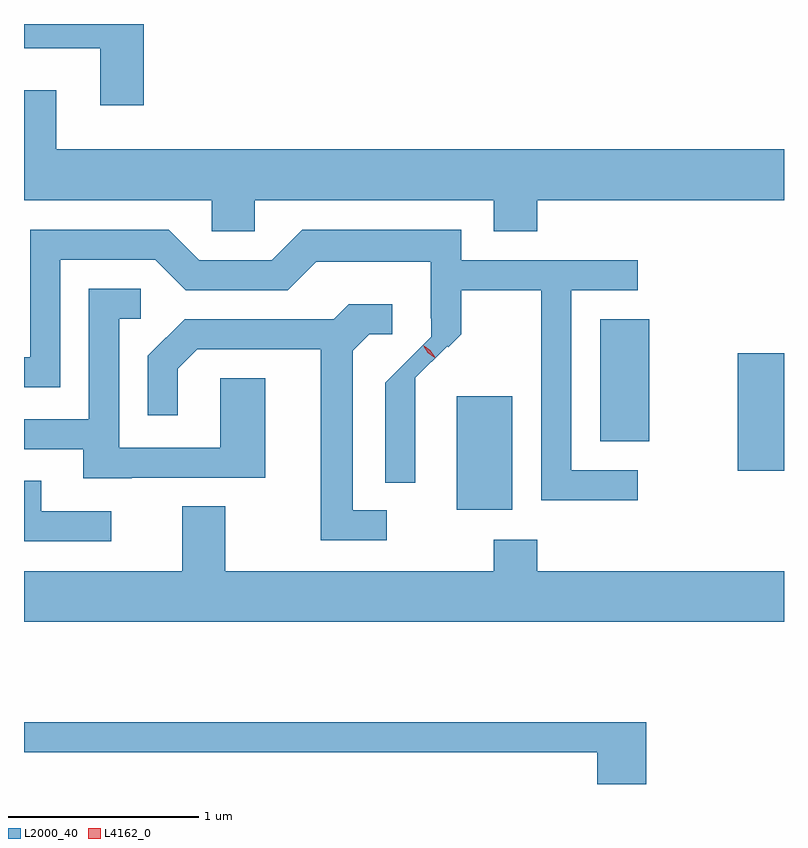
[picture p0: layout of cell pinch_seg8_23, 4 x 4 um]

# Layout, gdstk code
import gdstk
lib = gdstk.Library(unit=1e-6, precision=1e-09)
def R(c, l, rs):  # rectangles x0, y0, x1, y1
    for r in rs: c.add(gdstk.rectangle(r[:2], r[2:], *l))
def P(c, l, *ps):  # polygons
    for p in ps: c.add(gdstk.Polygon(p, *l))
L2000_40 = (2000, 40)
L4162_0 = (4162, 0)

pinch_seg8_23 = lib.new_cell('pinch_seg8_23')
R(pinch_seg8_23, L2000_40, [(1807.006,1837.006,1807.299,1837.604), (1808.486,1837.211,1808.729,1837.829), (1807.761,1837.366,1808.019,1838.009)])
P(pinch_seg8_23, L2000_40, [(1805.359,1839.563),(1804.729,1839.563),(1804.729,1839.436),(1805.131,1839.436),(1805.131,1839.136),(1805.359,1839.136)],
  [(1805.944,1838.636),(1807.201,1838.636),(1807.201,1838.471),(1807.429,1838.471),(1807.429,1838.636),(1808.729,1838.636),(1808.729,1838.904),(1804.899,1838.904),(1804.899,1839.214),(1804.729,1839.214),(1804.729,1838.636),(1805.716,1838.636),(1805.716,1838.471),(1805.944,1838.471)],
  [(1807.958,1837.214),(1807.609,1837.214),(1807.609,1838.161),(1807.958,1838.161),(1807.958,1838.319),(1807.029,1838.319),(1807.029,1838.479),(1806.194,1838.479),(1806.034,1838.319),(1805.652,1838.319),(1805.492,1838.479),(1804.761,1838.479),(1804.761,1837.809),(1804.729,1837.809),(1804.729,1837.651),(1804.919,1837.651),(1804.919,1838.321),(1805.419,1838.321),(1805.579,1838.161),(1806.117,1838.161),(1806.267,1838.311),(1806.871,1838.311),(1806.871,1838.015),(1806.873,1838.015),(1806.873,1837.916),(1806.631,1837.674),(1806.631,1837.148),(1806.789,1837.148),(1806.789,1837.7),(1806.956,1837.867),(1806.961,1837.863),(1807.029,1837.931),(1807.029,1838.161),(1807.451,1838.161),(1807.451,1837.056),(1807.958,1837.056)],
  [(1805.295,1837.176),(1805.999,1837.176),(1805.999,1837.699),(1805.761,1837.699),(1805.761,1837.334),(1805.229,1837.334),(1805.229,1838.011),(1805.343,1838.011),(1805.343,1838.169),(1805.071,1838.169),(1805.071,1837.484),(1804.729,1837.484),(1804.729,1837.326),(1805.041,1837.326),(1805.041,1837.171),(1805.295,1837.171)],
  [(1806.638,1837.004),(1806.459,1837.004),(1806.459,1837.844),(1806.547,1837.931),(1806.668,1837.931),(1806.668,1838.089),(1806.439,1838.089),(1806.359,1838.009),(1805.574,1838.009),(1805.381,1837.817),(1805.381,1837.503),(1805.539,1837.503),(1805.539,1837.749),(1805.642,1837.851),(1806.291,1837.851),(1806.291,1836.846),(1806.638,1836.846)],
  [(1805.188,1836.999),(1804.819,1836.999),(1804.819,1837.159),(1804.729,1837.159),(1804.729,1836.841),(1805.188,1836.841)],
  [(1808.729,1836.684),(1807.429,1836.684),(1807.429,1836.849),(1807.201,1836.849),(1807.201,1836.684),(1805.789,1836.684),(1805.789,1837.024),(1805.561,1837.024),(1805.561,1836.684),(1804.729,1836.684),(1804.729,1836.416),(1808.729,1836.416)],
  [(1808.004,1835.889),(1804.729,1835.889),(1804.729,1835.731),(1807.746,1835.731),(1807.746,1835.563),(1808.004,1835.563)])
P(pinch_seg8_23, L4162_0, [(1806.892,1837.806),(1806.854,1837.832),(1806.829,1837.871),(1806.829,1837.871),(1806.83,1837.871),(1806.868,1837.846),(1806.893,1837.807),(1806.893,1837.806)],
  [(1806.889,1837.811),(1806.854,1837.832),(1806.832,1837.866),(1806.832,1837.866),(1806.833,1837.866),(1806.868,1837.846),(1806.89,1837.812),(1806.89,1837.811)])

lib.write_gds('pinch_seg8_23.gds')
